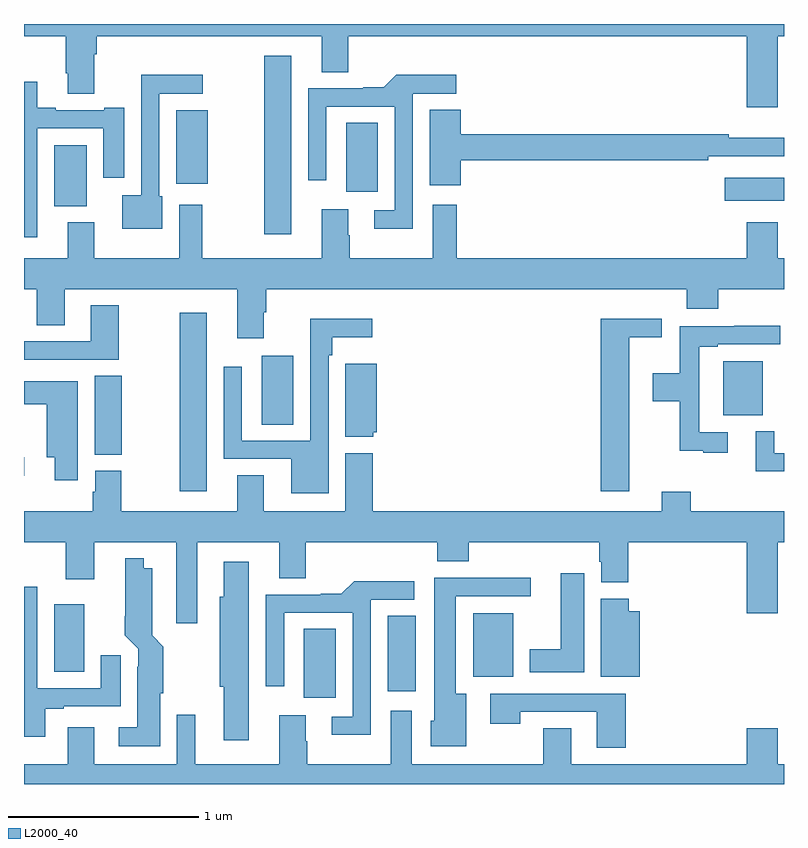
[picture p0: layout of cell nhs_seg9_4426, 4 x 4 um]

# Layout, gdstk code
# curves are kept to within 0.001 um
import gdstk
lib = gdstk.Library(unit=1e-6, precision=1e-09)
def R(c, l, rs):  # rectangles x0, y0, x1, y1
    for r in rs: c.add(gdstk.rectangle(r[:2], r[2:], *l))
def P(c, l, *ps):  # polygons
    for p in ps: c.add(gdstk.Polygon(p, *l))
L2000_40 = (2000, 40)

nhs_seg9_4426 = lib.new_cell('nhs_seg9_4426')
R(nhs_seg9_4426, L2000_40, [(366.473,1176.954,366.64,1177.316), (366.914,1176.987,367.063,1177.385), (367.364,1177.064,367.576,1177.399), (365.159,1177.09,365.317,1177.447), (365.821,1178.04,365.962,1178.98), (365,1178.123,365.002,1178.22), (365.372,1178.233,365.514,1178.648), (366.251,1178.392,366.418,1178.755), (368.681,1178.441,368.887,1178.725), (366.265,1179.393,366.406,1180.333), (365.159,1179.542,365.329,1179.862), (368.688,1179.569,369,1179.691), (366.695,1179.618,366.862,1179.98), (365.801,1179.659,365.968,1180.045)])
P(nhs_seg9_4426, L2000_40, [(368.968,1180.436),(369,1180.436),(369,1180.5),(365,1180.5),(365,1180.436),(365.219,1180.436),(365.219,1180.24),(365.231,1180.24),(365.231,1180.132),(365.371,1180.132),(365.371,1180.34),(365.384,1180.34),(365.384,1180.436),(366.566,1180.436),(366.566,1180.246),(366.706,1180.246),(366.706,1180.436),(368.804,1180.436),(368.804,1180.062),(368.968,1180.062)],
  [(367.047,1180.134),(367.276,1180.134),(367.276,1180.232),(366.959,1180.232),(366.893,1180.166),(366.785,1180.166),(366.785,1180.161),(366.495,1180.161),(366.495,1179.678),(366.591,1179.678),(366.591,1180.065),(366.951,1180.065),(366.951,1179.519),(366.843,1179.519),(366.843,1179.422),(367.047,1179.422)],
  [(365.728,1179.594),(365.712,1179.594),(365.712,1180.134),(365.941,1180.134),(365.941,1180.232),(365.616,1180.232),(365.616,1179.598),(365.516,1179.598),(365.516,1179.422),(365.728,1179.422)],
  [(365.07,1179.951),(365.417,1179.951),(365.417,1179.69),(365.527,1179.69),(365.527,1180.06),(365.423,1180.06),(365.423,1180.047),(365.167,1180.047),(365.167,1180.06),(365.071,1180.06),(365.071,1180.195),(365,1180.195),(365,1179.378),(365.07,1179.378)],
  [(367.298,1179.784),(368.6,1179.784),(368.6,1179.804),(369,1179.804),(369,1179.901),(368.708,1179.901),(368.708,1179.92),(367.298,1179.92),(367.298,1180.049),(367.136,1180.049),(367.136,1179.651),(367.298,1179.651)],
  [(366.262,1178.984),(366.275,1178.984),(366.275,1179.104),(368.489,1179.104),(368.489,1179.002),(368.654,1179.002),(368.654,1179.104),(369,1179.104),(369,1179.268),(368.968,1179.268),(368.968,1179.457),(368.804,1179.457),(368.804,1179.268),(367.277,1179.268),(367.277,1179.55),(367.151,1179.55),(367.151,1179.268),(366.714,1179.268),(366.714,1179.389),(366.706,1179.389),(366.706,1179.526),(366.566,1179.526),(366.566,1179.268),(365.937,1179.268),(365.937,1179.55),(365.816,1179.55),(365.816,1179.268),(365.371,1179.268),(365.371,1179.457),(365.231,1179.457),(365.231,1179.268),(365,1179.268),(365,1179.104),(365.068,1179.104),(365.068,1178.914),(365.215,1178.914),(365.215,1179.104),(366.122,1179.104),(366.122,1178.847),(366.262,1178.847)],
  [(365.499,1179.019),(365.351,1179.019),(365.351,1178.829),(365,1178.829),(365,1178.733),(365.499,1178.733)],
  [(366.603,1178.756),(366.623,1178.756),(366.623,1178.852),(366.832,1178.852),(366.832,1178.95),(366.507,1178.95),(366.507,1178.307),(366.147,1178.307),(366.147,1178.695),(366.051,1178.695),(366.051,1178.211),(366.407,1178.211),(366.407,1178.03),(366.603,1178.03)],
  [(368.185,1178.852),(368.356,1178.852),(368.356,1178.95),(368.036,1178.95),(368.036,1178.04),(368.185,1178.04)],
  [(368.704,1178.352),(368.553,1178.352),(368.553,1178.802),(368.65,1178.802),(368.65,1178.814),(368.98,1178.814),(368.98,1178.912),(368.737,1178.912),(368.737,1178.91),(368.452,1178.91),(368.452,1178.662),(368.31,1178.662),(368.31,1178.515),(368.452,1178.515),(368.452,1178.255),(368.576,1178.255),(368.576,1178.244),(368.704,1178.244)],
  [(366.837,1178.352),(366.856,1178.352),(366.856,1178.713),(366.692,1178.713),(366.692,1178.327),(366.837,1178.327)],
  [(365.284,1178.62),(365,1178.62),(365,1178.498),(365.12,1178.498),(365.12,1178.219),(365.162,1178.219),(365.162,1178.1),(365.284,1178.1)],
  [(369,1178.241),(368.949,1178.241),(368.949,1178.356),(368.852,1178.356),(368.852,1178.145),(369,1178.145)],
  [(365.911,1177.772),(366.344,1177.772),(366.344,1177.582),(366.484,1177.582),(366.484,1177.772),(367.175,1177.772),(367.175,1177.673),(367.34,1177.673),(367.34,1177.772),(368.027,1177.772),(368.027,1177.671),(368.039,1177.671),(368.039,1177.561),(368.18,1177.561),(368.18,1177.772),(368.804,1177.772),(368.804,1177.398),(368.968,1177.398),(368.968,1177.772),(369,1177.772),(369,1177.936),(368.51,1177.936),(368.51,1178.038),(368.357,1178.038),(368.357,1177.936),(366.836,1177.936),(366.836,1178.242),(366.692,1178.242),(366.692,1177.936),(366.262,1177.936),(366.262,1178.126),(366.122,1178.126),(366.122,1177.936),(365.511,1177.936),(365.511,1178.148),(365.375,1178.148),(365.375,1178.037),(365.363,1178.037),(365.363,1177.936),(365,1177.936),(365,1177.772),(365.219,1177.772),(365.219,1177.578),(365.371,1177.578),(365.371,1177.772),(365.801,1177.772),(365.801,1177.347),(365.911,1177.347)],
  [(365.716,1176.978),(365.734,1176.978),(365.734,1177.223),(365.675,1177.282),(365.674,1177.636),(365.629,1177.636),(365.629,1177.687),(365.532,1177.687),(365.531,1177.282),(365.601,1177.212),(365.601,1177.118),(365.597,1177.118),(365.597,1176.799),(365.499,1176.799),(365.499,1176.698),(365.716,1176.698)],
  [(366.184,1177.669),(366.05,1177.669),(366.05,1177.485),(366.029,1177.485),(366.029,1177.013),(366.05,1177.013),(366.05,1176.729),(366.184,1176.729)],
  [(367.948,1177.609),(367.826,1177.609),(367.826,1177.21),(367.661,1177.21),(367.661,1177.088),(367.948,1177.088)],
  [(367.327,1176.976),(367.273,1176.976),(367.273,1177.488),(367.666,1177.488),(367.666,1177.586),(367.16,1177.586),(367.16,1176.834),(367.142,1176.834),(367.142,1176.698),(367.327,1176.698)],
  [(366.825,1177.47),(367.054,1177.47),(367.054,1177.568),(366.737,1177.568),(366.671,1177.502),(366.563,1177.502),(366.563,1177.497),(366.273,1177.497),(366.273,1177.014),(366.369,1177.014),(366.369,1177.401),(366.729,1177.401),(366.729,1176.855),(366.621,1176.855),(366.621,1176.758),(366.825,1176.758)],
  [(365.113,1176.897),(365.209,1176.897),(365.209,1176.909),(365.509,1176.909),(365.509,1177.177),(365.405,1177.177),(365.405,1177.005),(365.071,1177.005),(365.071,1177.537),(365,1177.537),(365,1176.75),(365.113,1176.75)],
  [(368.242,1177.408),(368.183,1177.408),(368.183,1177.476),(368.036,1177.476),(368.036,1177.064),(368.242,1177.064)],
  [(368.168,1176.975),(367.455,1176.975),(367.455,1176.816),(367.611,1176.816),(367.611,1176.879),(368.015,1176.879),(368.015,1176.69),(368.168,1176.69)],
  [(369,1176.604),(368.968,1176.604),(368.968,1176.793),(368.804,1176.793),(368.804,1176.604),(367.879,1176.604),(367.879,1176.794),(367.732,1176.794),(367.732,1176.604),(367.042,1176.604),(367.042,1176.886),(366.929,1176.886),(366.929,1176.604),(366.492,1176.604),(366.492,1176.725),(366.484,1176.725),(366.484,1176.862),(366.344,1176.862),(366.344,1176.604),(365.902,1176.604),(365.902,1176.865),(365.805,1176.865),(365.805,1176.604),(365.371,1176.604),(365.371,1176.799),(365.231,1176.799),(365.231,1176.604),(365,1176.604),(365,1176.5),(369,1176.5)])

lib.write_gds('nhs_seg9_4426.gds')
